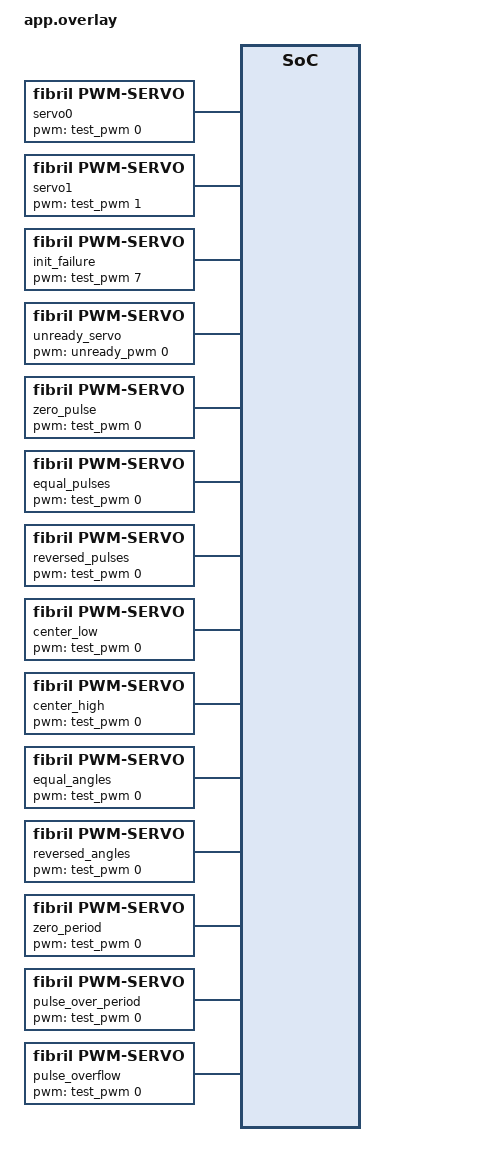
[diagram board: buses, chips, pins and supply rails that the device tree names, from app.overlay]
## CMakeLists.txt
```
cmake_minimum_required(VERSION 3.20.0)
find_package(Zephyr REQUIRED HINTS $ENV{ZEPHYR_BASE})
project(pwm_servo)
target_sources(app PRIVATE src/main.c)
```

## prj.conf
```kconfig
CONFIG_ZTEST=y
CONFIG_PWM=y
CONFIG_PWM_FAKE=y
CONFIG_SERVO=y
```

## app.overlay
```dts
#include <zephyr/dt-bindings/pwm/pwm.h>
/ {
    test_pwm: pwm-test {
        compatible = "zephyr,fake-pwm";
        #pwm-cells = <2>;
        /* One timer cycle per microsecond makes pulse assertions exact. */
        frequency = <1000000>;
        status = "okay";
    };
    unready_pwm: pwm-unready {
        compatible = "zephyr,fake-pwm";
        #pwm-cells = <2>;
        frequency = <1000000>;
        zephyr,deferred-init;
        status = "okay";
    };
    servo0: servo0 {
        compatible = "fibril,pwm-servo";
        pwms = <&test_pwm 0 PWM_USEC(20000)>;
        min-pulse-us = <500>;
        center-pulse-us = <1500>;
        max-pulse-us = <2500>;
        min-angle-deg = <(0)>;
        max-angle-deg = <(180)>;
    };
    servo1: servo1 {
        compatible = "fibril,pwm-servo";
        pwms = <&test_pwm 1 PWM_USEC(10000)>;
        min-pulse-us = <1000>;
        center-pulse-us = <1500>;
        max-pulse-us = <2200>;
        min-angle-deg = <(-90)>;
        max-angle-deg = <(90)>;
    };
    init_failure: init-failure {
        compatible = "fibril,pwm-servo";
        pwms = <&test_pwm 7 PWM_USEC(20000)>;
        min-pulse-us = <500>;
        center-pulse-us = <1500>;
        max-pulse-us = <2500>;
        min-angle-deg = <(0)>;
        max-angle-deg = <(180)>;
    };
    unready_servo: unready-servo {
        zephyr,deferred-init;
        compatible = "fibril,pwm-servo";
        pwms = <&unready_pwm 0 PWM_USEC(20000)>;
        min-pulse-us = <500>;
        center-pulse-us = <1500>;
        max-pulse-us = <2500>;
        min-angle-deg = <(0)>;
        max-angle-deg = <(180)>;
    };
    zero_pulse: zero-pulse {
        compatible = "fibril,pwm-servo";
        pwms = <&test_pwm 0 PWM_USEC(20000)>;
        min-pulse-us = <0>;
        center-pulse-us = <1500>;
        max-pulse-us = <2500>;
        min-angle-deg = <(0)>;
        max-angle-deg = <(180)>;
    };
    equal_pulses: equal-pulses {
        compatible = "fibril,pwm-servo";
        pwms = <&test_pwm 0 PWM_USEC(20000)>;
        min-pulse-us = <2500>;
        center-pulse-us = <1500>;
        max-pulse-us = <2500>;
        min-angle-deg = <(0)>;
        max-angle-deg = <(180)>;
    };
    reversed_pulses: reversed-pulses {
        compatible = "fibril,pwm-servo";
        pwms = <&test_pwm 0 PWM_USEC(20000)>;
        min-pulse-us = <3000>;
        center-pulse-us = <1500>;
        max-pulse-us = <2500>;
        min-angle-deg = <(0)>;
        max-angle-deg = <(180)>;
    };
    center_low: center-low {
        compatible = "fibril,pwm-servo";
        pwms = <&test_pwm 0 PWM_USEC(20000)>;
        min-pulse-us = <500>;
        center-pulse-us = <499>;
        max-pulse-us = <2500>;
        min-angle-deg = <(0)>;
        max-angle-deg = <(180)>;
    };
    center_high: center-high {
        compatible = "fibril,pwm-servo";
        pwms = <&test_pwm 0 PWM_USEC(20000)>;
        min-pulse-us = <500>;
        center-pulse-us = <2501>;
        max-pulse-us = <2500>;
        min-angle-deg = <(0)>;
        max-angle-deg = <(180)>;
    };
    equal_angles: equal-angles {
        compatible = "fibril,pwm-servo";
        pwms = <&test_pwm 0 PWM_USEC(20000)>;
        min-pulse-us = <500>;
        center-pulse-us = <1500>;
        max-pulse-us = <2500>;
        min-angle-deg = <(0)>;
        max-angle-deg = <(0)>;
    };
    reversed_angles: reversed-angles {
        compatible = "fibril,pwm-servo";
        pwms = <&test_pwm 0 PWM_USEC(20000)>;
        min-pulse-us = <500>;
        center-pulse-us = <1500>;
        max-pulse-us = <2500>;
        min-angle-deg = <(180)>;
        max-angle-deg = <(0)>;
    };
    zero_period: zero-period {
        compatible = "fibril,pwm-servo";
        pwms = <&test_pwm 0 PWM_USEC(0)>;
        min-pulse-us = <500>;
        center-pulse-us = <1500>;
        max-pulse-us = <2500>;
        min-angle-deg = <(0)>;
        max-angle-deg = <(180)>;
    };
    pulse_over_period: pulse-over-period {
        compatible = "fibril,pwm-servo";
        pwms = <&test_pwm 0 PWM_USEC(2000)>;
        min-pulse-us = <500>;
        center-pulse-us = <1500>;
        max-pulse-us = <2500>;
        min-angle-deg = <(0)>;
        max-angle-deg = <(180)>;
    };
    pulse_overflow: pulse-overflow {
        compatible = "fibril,pwm-servo";
        pwms = <&test_pwm 0 PWM_USEC(4294967)>;
        min-pulse-us = <500>;
        center-pulse-us = <1500>;
        max-pulse-us = <4294968>;
        min-angle-deg = <(0)>;
        max-angle-deg = <(180)>;
    };
};
```

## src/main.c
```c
/* SPDX-License-Identifier: Apache-2.0 */
#include <errno.h>
#include <float.h>
#include <math.h>
#include <zephyr/device.h>
#include <zephyr/drivers/pwm/pwm_fake.h>
#include <zephyr/init.h>
#include <zephyr/ztest.h>
#include <drivers/servo.h>

DEFINE_FFF_GLOBALS;

static const struct device *const servo0 = DEVICE_DT_GET(DT_NODELABEL(servo0));
static const struct device *const servo1 = DEVICE_DT_GET(DT_NODELABEL(servo1));
static unsigned int startup_calls;
static bool startup_nonzero;

static int startup_pwm(const struct device *dev, uint32_t channel, uint32_t period,
		       uint32_t pulse, pwm_flags_t flags)
{
	ARG_UNUSED(dev);
	ARG_UNUSED(period);
	ARG_UNUSED(flags);
	startup_calls++;
	startup_nonzero |= pulse != 0;
	return channel == 7 ? -EIO : 0;
}

static int install_startup_pwm(void)
{
	fake_pwm_set_cycles_fake.custom_fake = startup_pwm;
	return 0;
}
SYS_INIT(install_startup_pwm, PRE_KERNEL_1, 0);

static void expect_output(uint32_t channel, uint32_t period_us, uint32_t pulse_us)
{
	zassert_equal(fake_pwm_set_cycles_fake.arg0_val, DEVICE_DT_GET(DT_NODELABEL(test_pwm)));
	zassert_equal(fake_pwm_set_cycles_fake.arg1_val, channel);
	zassert_equal(fake_pwm_set_cycles_fake.arg2_val, period_us);
	zassert_equal(fake_pwm_set_cycles_fake.arg3_val, pulse_us);
}

ZTEST(pwm_servo, test_init_leaves_outputs_inactive_and_propagates_pwm_failure)
{
	zassert_true(device_is_ready(servo0));
	zassert_true(device_is_ready(servo1));
	zassert_equal(startup_calls, 3);
	zassert_false(startup_nonzero);
	const struct device *failed = DEVICE_DT_GET(DT_NODELABEL(init_failure));
	zassert_false(device_is_ready(failed));
	zassert_equal(failed->state->init_res, EIO);
}

ZTEST(pwm_servo, test_angles_map_endpoints_midpoint_and_fractional_values)
{
	const float angles[] = {0, 90, 180, 45, 45.5f};
	const uint32_t pulses[] = {500, 1500, 2500, 1000, 1006};
	for (size_t i = 0; i < ARRAY_SIZE(angles); i++) {
		zassert_ok(servo_set_angle(servo0, angles[i]));
		expect_output(0, 20000, pulses[i]);
	}
}

ZTEST(pwm_servo, test_out_of_range_angles_are_clamped)
{
	zassert_ok(servo_set_angle(servo0, -10));
	expect_output(0, 20000, 500);
	zassert_ok(servo_set_angle(servo0, 200));
	expect_output(0, 20000, 2500);
	zassert_ok(servo_set_angle(servo0, -FLT_MAX));
	expect_output(0, 20000, 500);
	zassert_ok(servo_set_angle(servo0, FLT_MAX));
	expect_output(0, 20000, 2500);
}

ZTEST(pwm_servo, test_pulse_commands_are_clamped_before_unit_conversion)
{
	const uint32_t inputs[] = {0, 499, 500, 1500, 2500, 2501, UINT32_MAX};
	const uint32_t outputs[] = {500, 500, 500, 1500, 2500, 2500, 2500};
	for (size_t i = 0; i < ARRAY_SIZE(inputs); i++) {
		zassert_ok(servo_set_pulse(servo0, inputs[i]));
		expect_output(0, 20000, outputs[i]);
	}
}

ZTEST(pwm_servo, test_instances_use_their_own_signed_angle_range_period_and_channel)
{
	zassert_ok(servo_set_angle(servo1, -90));
	expect_output(1, 10000, 1000);
	zassert_ok(servo_set_angle(servo1, 0));
	expect_output(1, 10000, 1600);
	zassert_ok(servo_set_angle(servo1, 90));
	expect_output(1, 10000, 2200);
	zassert_ok(servo_set_angle(servo0, 90));
	expect_output(0, 20000, 1500);
}

ZTEST(pwm_servo, test_disable_preserves_period_and_next_command_resumes_output)
{
	zassert_ok(servo_set_angle(servo0, 90));
	zassert_ok(servo_disable(servo0));
	expect_output(0, 20000, 0);
	zassert_ok(servo_disable(servo0));
	expect_output(0, 20000, 0);
	zassert_ok(servo_set_pulse(servo0, 500));
	expect_output(0, 20000, 500);
}

ZTEST(pwm_servo, test_pwm_errors_reach_all_callers)
{
	fake_pwm_set_cycles_fake.return_val = -ENOTSUP;
	zassert_equal(servo_set_angle(servo0, 90), -ENOTSUP);
	zassert_equal(servo_set_pulse(servo0, 1500), -ENOTSUP);
	zassert_equal(servo_disable(servo0), -ENOTSUP);
}

ZTEST(pwm_servo, test_nonfinite_angles_do_not_change_output)
{
	zassert_equal(servo_set_angle(servo0, NAN), -EINVAL);
	zassert_equal(servo_set_angle(servo0, INFINITY), -EINVAL);
	zassert_equal(servo_set_angle(servo0, -INFINITY), -EINVAL);
	zassert_equal(fake_pwm_set_cycles_fake.call_count, 0);
}

ZTEST(pwm_servo, test_invalid_configuration_fails_before_pwm_output)
{
	const struct device *const invalid[] = {
		DEVICE_DT_GET(DT_NODELABEL(zero_pulse)),
		DEVICE_DT_GET(DT_NODELABEL(equal_pulses)),
		DEVICE_DT_GET(DT_NODELABEL(reversed_pulses)),
		DEVICE_DT_GET(DT_NODELABEL(center_low)),
		DEVICE_DT_GET(DT_NODELABEL(center_high)),
		DEVICE_DT_GET(DT_NODELABEL(equal_angles)),
		DEVICE_DT_GET(DT_NODELABEL(reversed_angles)),
		DEVICE_DT_GET(DT_NODELABEL(zero_period)),
		DEVICE_DT_GET(DT_NODELABEL(pulse_over_period)),
		DEVICE_DT_GET(DT_NODELABEL(pulse_overflow)),
	};
	for (size_t i = 0; i < ARRAY_SIZE(invalid); i++) {
		zassert_false(device_is_ready(invalid[i]));
		zassert_equal(invalid[i]->state->init_res, EINVAL);
		zassert_equal(servo_set_angle(invalid[i], 90), -ENODEV);
		zassert_equal(servo_set_pulse(invalid[i], 1500), -ENODEV);
		zassert_equal(servo_disable(invalid[i]), -ENODEV);
	}
	zassert_equal(fake_pwm_set_cycles_fake.call_count, 0);
}

ZTEST(pwm_servo, test_unready_pwm_and_null_devices_are_rejected)
{
	const struct device *unready = DEVICE_DT_GET(DT_NODELABEL(unready_servo));
	zassert_equal(device_init(unready), -ENODEV);
	zassert_false(device_is_ready(unready));
	zassert_equal(unready->state->init_res, ENODEV);
	zassert_equal(servo_set_angle(unready, 90), -ENODEV);
	zassert_equal(servo_set_pulse(unready, 1500), -ENODEV);
	zassert_equal(servo_disable(unready), -ENODEV);
	zassert_equal(servo_set_angle(NULL, 90), -ENODEV);
	zassert_equal(servo_set_pulse(NULL, 1500), -ENODEV);
	zassert_equal(servo_disable(NULL), -ENODEV);
	zassert_equal(fake_pwm_set_cycles_fake.call_count, 0);
}

ZTEST_SUITE(pwm_servo, NULL, NULL, NULL, NULL, NULL);
```
